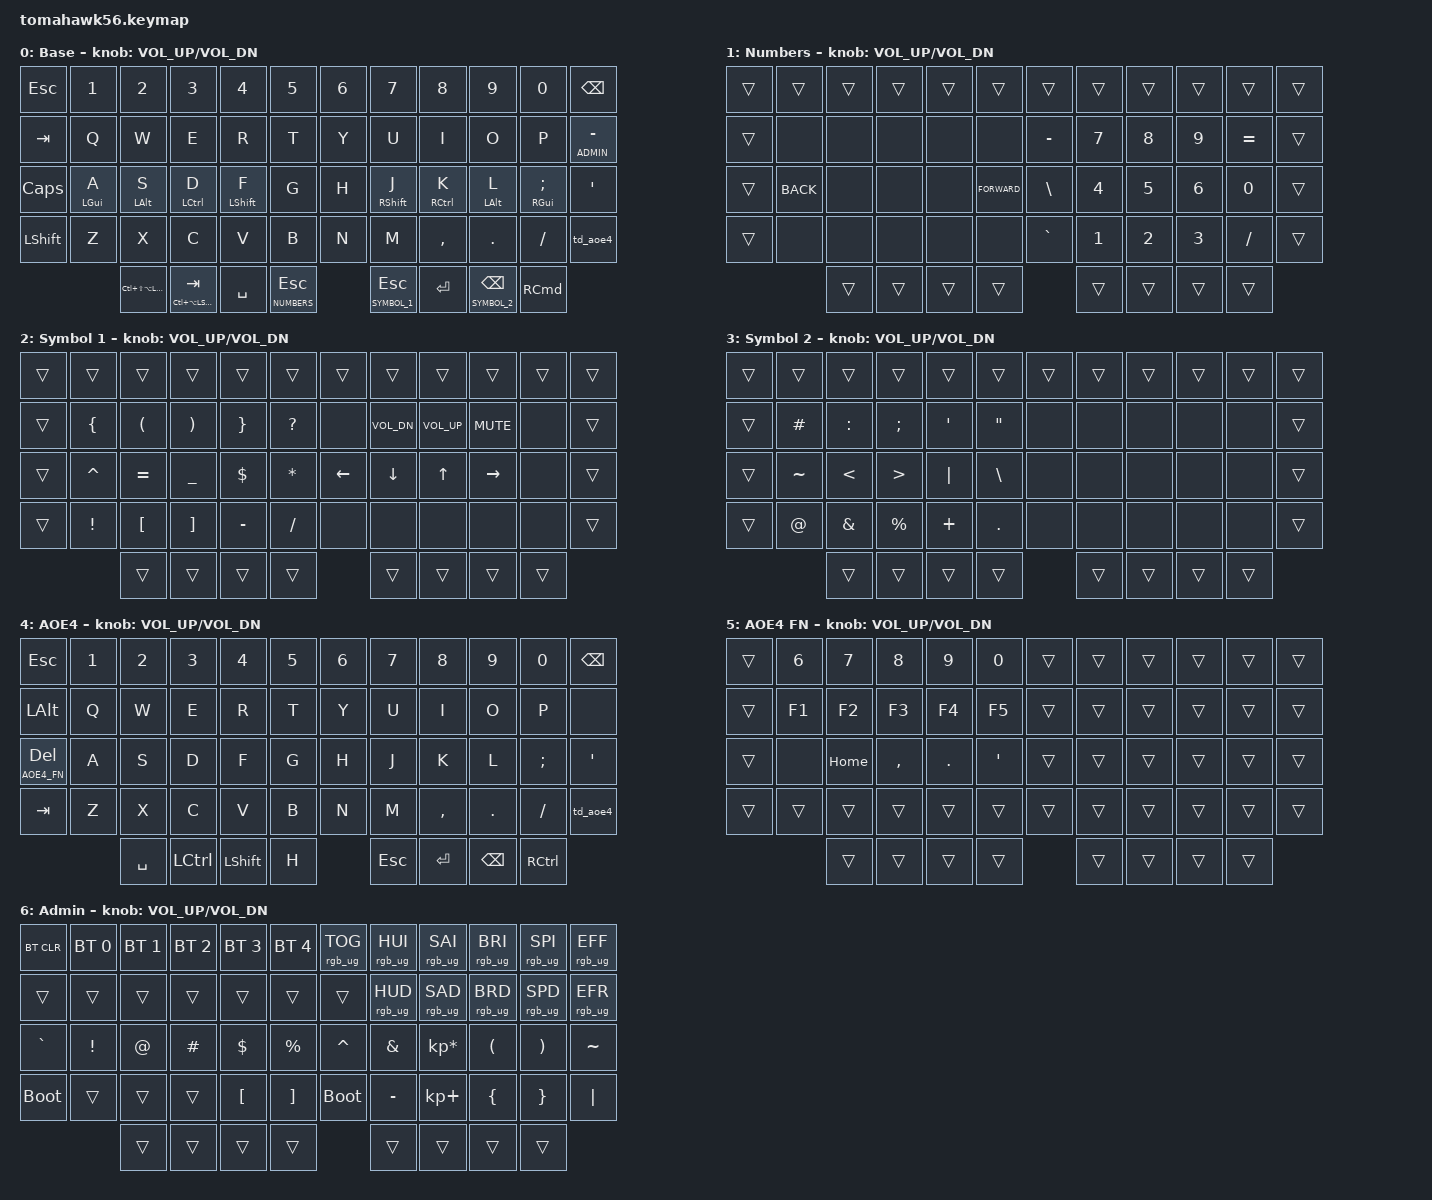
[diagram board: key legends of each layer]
/*
 * Copyright (c) 2020 The ZMK Contributors
 *
 * SPDX-License-Identifier: MIT
 */
#include <behaviors.dtsi>
#include <dt-bindings/zmk/bt.h>
#include <dt-bindings/zmk/keys.h>
#include <dt-bindings/zmk/rgb.h>
#include <dt-bindings/zmk/backlight.h>

#define BASE 0
#define NUMBERS 1
#define SYMBOL_1 2
#define SYMBOL_2 3
#define AOE4 4
#define AOE4_FN 5
#define ADMIN 6
/*
 * Assign the cs-gpios pin to 4.
 * Uncomment these next few lines if implementing nice!view Displays
 */

// nice_view_spi: &spi0 { cs-gpios = <&pro_micro 4 GPIO_ACTIVE_HIGH>; };
// Uncomment this block if using RGB
&led_strip {
    chain-length = <28>;
};
/ {
    behaviors {
        hm: homerow_mods {
            compatible = "zmk,behavior-hold-tap";
            #binding-cells = <2>;
            tapping-term-ms = <200>;
            quick-tap-ms = <50>;
            flavor = "tap-preferred";
            bindings = <&kp>, <&kp>;
        };

        tg: tab_game_toggle {
            compatible = "zmk,behavior-hold-tap";
            #binding-cells = <2>;
            tapping-term-ms = <200>;
            quick-tap-ms = <50>;
            flavor = "tap-preferred";
            bindings = <&kp>, <&tog>;
        };

        td_aoe4: tap_dance_aoe4 {
            compatible = "zmk,behavior-tap-dance";
            #binding-cells = <0>;
            tapping-term-ms = <300>;
            bindings = <&none>, <&tog AOE4>;
        };
    };

    keymap {
        compatible = "zmk,keymap";

        default_layer {
            display-name = "Base";
            bindings = <
&kp ESC         &kp N1  &kp N2            &kp N3            &kp N4  &kp N5               &kp N6  &kp N7  &kp N8             &kp N9          &kp N0    &kp BSPC
&kp TAB         &kp Q   &kp W             &kp E             &kp R   &kp T                &kp Y   &kp U   &kp I              &kp O           &kp P     &lt ADMIN MINUS
&kp CAPSLOCK    &hm LGUI A  &hm LALT S    &hm LCTRL D       &hm LSHFT F  &kp G           &kp H   &hm RSHFT J  &hm RCTRL K      &hm LALT L      &hm RGUI SEMI  &kp SQT
&kp LEFT_SHIFT  &kp Z   &kp X             &kp C             &kp V   &kp B                &kp N   &kp M   &kp COMMA          &kp DOT         &kp FSLH  &td_aoe4
                        &kp LC(LS(LA(LGUI)))  &mt LC(LA(LSHFT)) TAB  &kp SPACE &lt NUMBERS ESC  &lt SYMBOL_1 ESC &kp RET &lt SYMBOL_2 BSPC &kp RIGHT_COMMAND
            >;

            sensor-bindings = <&inc_dec_kp C_VOL_UP C_VOL_DN>;
        };

        numbers_layer {
            display-name = "Numbers";
            bindings = <
&trans     &trans    &trans    &trans     &trans  &trans            &trans       &trans     &trans     &trans    &trans    &trans
&trans     &none     &none     &none      &none   &none             &kp MINUS    &kp N7     &kp N8     &kp N9    &kp EQUAL &trans
&trans     &kp K_BACK &none    &none      &none   &kp K_FORWARD     &kp BSLH     &kp N4     &kp N5     &kp N6    &kp N0    &trans
&trans     &none     &none     &none      &none   &none             &kp GRAVE    &kp N1     &kp N2     &kp N3    &kp FSLH  &trans
                     &trans    &trans     &trans  &trans            &trans       &trans     &trans     &trans
            >;

            sensor-bindings = <&inc_dec_kp C_VOL_UP C_VOL_DN>;
        };

        symbol_1_layer {
            display-name = "Symbol 1";
            bindings = <
&trans     &trans     &trans     &trans      &trans     &trans            &trans     &trans        &trans        &trans      &trans    &trans
&trans     &kp LBRC   &kp LPAR   &kp RPAR    &kp RBRC   &kp QMARK         &none      &kp K_VOL_DN  &kp K_VOL_UP  &kp K_MUTE  &none     &trans
&trans     &kp CARET  &kp EQUAL  &kp UNDER   &kp DLLR   &kp STAR          &kp LEFT   &kp DOWN      &kp UP        &kp RIGHT   &none     &trans
&trans     &kp EXCL   &kp LBKT   &kp RBKT    &kp MINUS  &kp FSLH          &none      &none         &none         &none       &none     &trans
                      &trans      &trans      &trans     &trans            &trans     &trans        &trans        &trans
            >;

            sensor-bindings = <&inc_dec_kp C_VOL_UP C_VOL_DN>;
        };

        symbol_2_layer {
            display-name = "Symbol 2";
            bindings = <
&trans     &trans      &trans      &trans     &trans     &trans          &trans      &trans      &trans      &trans      &trans      &trans
&trans     &kp HASH    &kp COLON   &kp SEMI   &kp SQT    &kp DQT         &none       &none       &none       &none       &none       &trans
&trans     &kp TILDE   &kp LT      &kp GT     &kp PIPE   &kp BSLH        &none       &none       &none       &none       &none       &trans
&trans     &kp AT      &kp AMPS    &kp PRCNT  &kp PLUS   &kp DOT         &none       &none       &none       &none       &none       &trans
                       &trans       &trans     &trans     &trans          &trans      &trans      &trans      &trans
            >;

            sensor-bindings = <&inc_dec_kp C_VOL_UP C_VOL_DN>;
        };

        aoe4_layer {
            display-name = "AOE4";
            bindings = <
&kp ESC         &kp N1  &kp N2  &kp N3  &kp N4  &kp N5            &kp N6  &kp N7  &kp N8     &kp N9    &kp N0    &kp BSPC
&kp LALT        &kp Q   &kp W   &kp E   &kp R   &kp T             &kp Y   &kp U   &kp I      &kp O     &kp P     &none
&lt AOE4_FN DEL  &kp A   &kp S   &kp D   &kp F   &kp G             &kp H   &kp J   &kp K      &kp L     &kp SEMI  &kp SQT
&kp TAB         &kp Z   &kp X   &kp C   &kp V   &kp B             &kp N   &kp M   &kp COMMA  &kp DOT   &kp FSLH  &td_aoe4
                        &kp SPACE  &kp LCTRL  &kp LSHFT  &kp H  &kp ESC  &kp RET  &kp BSPC  &kp RCTRL
            >;

            sensor-bindings = <&inc_dec_kp C_VOL_UP C_VOL_DN>;
        };
    
        aoe4_fn_layer {
            display-name = "AOE4 FN";
            bindings = <
&trans         &kp N6   &kp N7   &kp N8   &kp N9   &kp N0           &trans  &trans  &trans    &trans   &trans   &trans
&trans         &kp F1   &kp F2   &kp F3   &kp F4   &kp F5           &trans  &trans  &trans    &trans   &trans   &trans
&trans         &none    &kp HOME &kp COMMA &kp DOT &kp SQT           &trans  &trans  &trans    &trans   &trans   &trans
&trans         &trans   &trans   &trans   &trans   &trans           &trans  &trans  &trans    &trans   &trans   &trans
                        &trans    &trans    &trans            &trans      &trans   &trans   &trans    &trans
            >;

            sensor-bindings = <&inc_dec_kp C_VOL_UP C_VOL_DN>;
        };

        admin_layer {
            display-name = "Admin";
            bindings = <
&bt BT_CLR  &bt BT_SEL 0  &bt BT_SEL 1  &bt BT_SEL 2  &bt BT_SEL 3  &bt BT_SEL 4         &rgb_ug RGB_TOG  &rgb_ug RGB_HUI  &rgb_ug RGB_SAI  &rgb_ug RGB_BRI  &rgb_ug RGB_SPI  &rgb_ug RGB_EFF
&trans      &trans        &trans        &trans        &trans        &trans               &trans           &rgb_ug RGB_HUD  &rgb_ug RGB_SAD  &rgb_ug RGB_BRD  &rgb_ug RGB_SPD  &rgb_ug RGB_EFR
&kp GRAVE   &kp EXCL      &kp AT        &kp HASH      &kp DOLLAR    &kp PRCNT            &kp CARET  &kp AMPS   &kp KP_MULTIPLY  &kp LPAR  &kp RPAR  &kp TILDE
&bootloader &trans        &trans        &trans        &kp LBKT      &kp RBKT             &bootloader &kp MINUS  &kp KP_PLUS      &kp LBRC  &kp RBRC  &kp PIPE
                          &trans        &trans        &trans        &trans               &trans  &trans     &trans     &trans
            >;

            sensor-bindings = <&inc_dec_kp C_VOL_UP C_VOL_DN>;
        };

        extra_3 { status = "reserved"; };
    };
};
